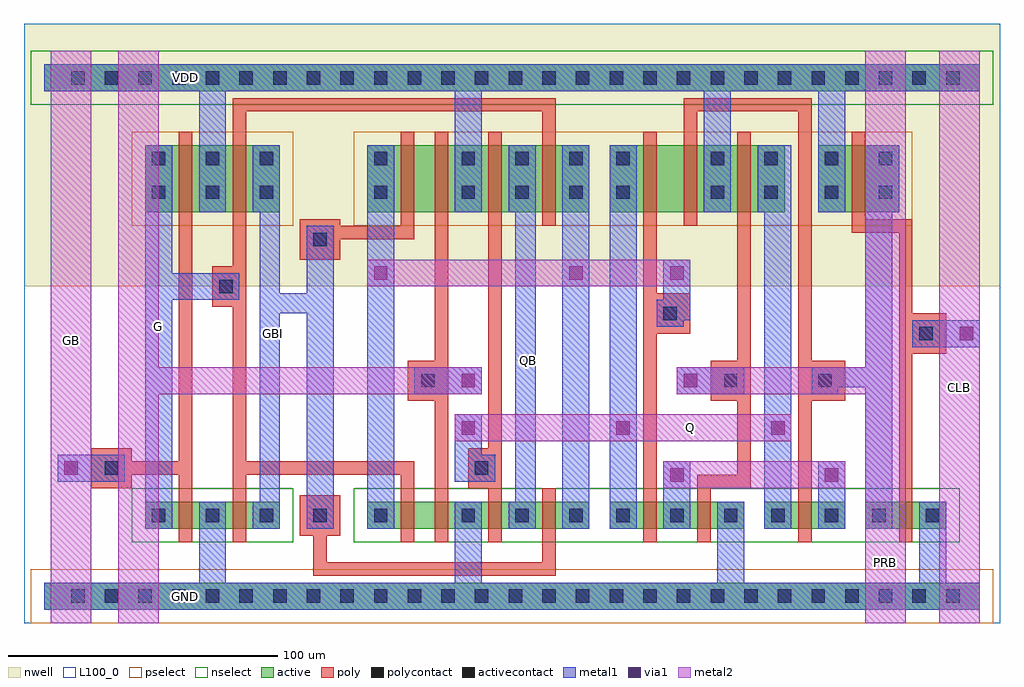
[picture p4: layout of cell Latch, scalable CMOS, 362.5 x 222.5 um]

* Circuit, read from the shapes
.subckt Latch CLB Data G GB GBI GND PRB Q QB VDD
M1 GND GB G GND nfet w=10u l=5u
M2 GBI G GND GND nfet w=10u l=5u
M3 n1 G n2 GND nfet w=10u l=5u
M4 GND Data n1 GND nfet w=10u l=5u
M5 QB Q GND GND nfet w=10u l=5u
M6 n2 GBI QB GND nfet w=10u l=5u
M7 n3 n2 Q GND nfet w=10u l=5u
M8 GND PRB n3 GND nfet w=10u l=5u
M9 n3 n4 Q GND nfet w=10u l=5u
M10 GND CLB n4 GND nfet w=10u l=5u
M11 VDD GB G VDD pfet w=25u l=5u
M12 GBI G VDD VDD pfet w=25u l=5u
M13 n5 GBI n2 VDD pfet w=25u l=5u
M14 VDD Data n5 VDD pfet w=25u l=5u
M15 QB Q VDD VDD pfet w=25u l=5u
M16 n2 G QB VDD pfet w=25u l=5u
M17 n6 n2 Q VDD pfet w=25u l=5u
M18 VDD n4 n6 VDD pfet w=25u l=5u
M19 Q PRB VDD VDD pfet w=25u l=5u
M20 n4 CLB VDD VDD pfet w=25u l=5u
.ends

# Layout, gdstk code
import gdstk
lib = gdstk.Library(unit=1e-6, precision=1e-09)
def R(c, l, rs):  # rectangles x0, y0, x1, y1
    for r in rs: c.add(gdstk.rectangle(r[:2], r[2:], *l))
def A(c, l, x, y, w, h, nx, ny, dx, dy):  # array of equal rectangles
    R(c, l, [(x+i*dx, y+j*dy, x+i*dx+w, y+j*dy+h) for i in range(nx) for j in range(ny)])
nwell = (42, 0)
active = (43, 0)
pselect = (44, 0)
nselect = (45, 0)
poly = (46, 0)
polycontact = (47, 0)
activecontact = (48, 0)
metal1 = (49, 0)
via1 = (50, 0)
metal2 = (51, 0)
L100_0 = (100, 0)

latch = lib.new_cell('Latch')
R(latch, nwell, [(0,125,362.5,222.5), (7.5,125,355,190), (0,190,362.5,215), (7.5,215,355,222.5)])
R(latch, active, [(7.5,5,355,15), (45,35,95,45), (127.5,35,210,45), (217.5,35,267.5,45), (275,35,305,45), (312.5,35,342.5,45), (45,152.5,95,177.5), (127.5,152.5,210,177.5), (217.5,152.5,282.5,177.5), (295,152.5,325,177.5), (7.5,197.5,355,207.5)])
R(latch, pselect, [(2.5,0,360,20), (40,147.5,100,182.5), (122.5,147.5,330,182.5)])
R(latch, nselect, [(40,30,100,50), (122.5,30,347.5,50), (2.5,192.5,360,212.5)])
R(latch, poly, [(107.5,17.5,197.5,22.5), (107.5,22.5,112.5,32.5), (192.5,22.5,197.5,50), (57.5,30,62.5,55), (77.5,30,82.5,55), (140,30,145,55), (152.5,30,157.5,82.5), (172.5,30,177.5,50), (230,30,235,107.5), (250,30,255,50), (287.5,30,292.5,82.5), (325,30,330,100), (102.5,32.5,117.5,47.5), (25,50,40,55), (165,50,177.5,65), (250,50,270,55), (25,55,62.5,60), (77.5,55,145,60), (265,55,270,82.5), (25,60,40,65), (57.5,60,62.5,182.5), (77.5,60,82.5,117.5), (172.5,65,177.5,182.5), (142.5,82.5,157.5,97.5), (255,82.5,270,97.5), (287.5,82.5,305,97.5), (152.5,97.5,157.5,182.5), (265,97.5,270,182.5), (287.5,97.5,292.5,190), (325,100,342.5,115), (230,107.5,247.5,122.5), (325,115,330,145), (70,117.5,82.5,132.5), (230,122.5,235,182.5), (77.5,132.5,82.5,190), (102.5,135,117.5,142.5), (102.5,142.5,145,147.5), (307.5,145,330,150), (102.5,147.5,117.5,150), (140,147.5,145,182.5), (192.5,147.5,197.5,190), (245,147.5,250,190), (307.5,150,312.5,182.5), (77.5,190,197.5,195), (245,190,292.5,195)])
R(latch, polycontact, [(107.5,37.5,112.5,42.5), (30,55,35,60), (167.5,55,172.5,60), (147.5,87.5,152.5,92.5), (260,87.5,265,92.5), (295,87.5,300,92.5), (332.5,105,337.5,110), (237.5,112.5,242.5,117.5), (72.5,122.5,77.5,127.5), (107.5,140,112.5,145)])
A(latch, activecontact, 17.5, 7.5, 5, 5, 27, 2, 12.5, 192.5)
A(latch, activecontact, 47.5, 37.5, 5, 5, 3, 2, 20, 120)
A(latch, activecontact, 162.5, 37.5, 5, 5, 3, 2, 20, 120)
A(latch, activecontact, 220, 37.5, 5, 5, 3, 1, 20, 0)
A(latch, activecontact, 47.5, 170, 5, 5, 3, 1, 20, 0)
A(latch, activecontact, 162.5, 170, 5, 5, 3, 1, 20, 0)
R(latch, activecontact, [(130,37.5,135,42.5), (277.5,37.5,282.5,42.5), (297.5,37.5,302.5,42.5), (315,37.5,320,42.5), (335,37.5,340,42.5), (130,157.5,135,162.5), (220,157.5,225,162.5), (255,157.5,260,162.5), (275,157.5,280,162.5), (297.5,157.5,302.5,162.5), (317.5,157.5,322.5,162.5), (130,170,135,175), (220,170,225,175), (255,170,260,175), (275,170,280,175), (297.5,170,302.5,175), (317.5,170,322.5,175)])
R(latch, metal1, [(7.5,5,355,15), (65,15,75,45), (160,15,170,45), (257.5,15,267.5,45), (332.5,15,342.5,45), (45,35,55,120), (85,35,95,45), (105,35,115,115), (127.5,35,137.5,177.5), (180,35,190,45), (200,35,210,177.5), (217.5,35,227.5,177.5), (237.5,35,247.5,60), (275,35,285,152.5), (295,35,305,60), (312.5,35,322.5,87.5), (87.5,45,95,115), (182.5,45,190,152.5), (12.5,52.5,37.5,62.5), (160,52.5,175,62.5), (160,62.5,170,77.5), (145,85,170,95), (242.5,85,267.5,95), (292.5,85,302.5,87.5), (292.5,87.5,322.5,95), (312.5,95,322.5,152.5), (330,102.5,355,112.5), (235,110,245,112.5), (235,112.5,247.5,120), (87.5,115,115,122.5), (45,120,80,130), (237.5,120,247.5,135), (87.5,122.5,95,152.5), (105,122.5,115,147.5), (45,130,55,177.5), (65,152.5,75,197.5), (85,152.5,95,177.5), (160,152.5,170,197.5), (180,152.5,190,177.5), (252.5,152.5,262.5,197.5), (272.5,152.5,285,177.5), (295,152.5,305,197.5), (312.5,152.5,325,177.5), (7.5,197.5,355,207.5)])
A(latch, via1, 162.5, 70, 5, 5, 3, 1, 57.5, 0)
R(latch, via1, [(240,52.5,245,57.5), (297.5,52.5,302.5,57.5), (15,55,20,60), (162.5,87.5,167.5,92.5), (245,87.5,250,92.5), (347.5,105,352.5,110), (130,127.5,135,132.5), (202.5,127.5,207.5,132.5), (240,127.5,245,132.5)])
R(latch, metal2, [(10,0,25,212.5), (35,0,50,85), (312.5,0,327.5,85), (340,0,355,212.5), (237.5,50,305,60), (160,67.5,285,77.5), (35,85,170,95), (242.5,85,327.5,95), (35,95,50,212.5), (312.5,95,327.5,212.5), (127.5,125,247.5,135)])
R(latch, L100_0, [(0,0,362.5,222.5)])
latch.add(gdstk.Label('GND', (60,10), layer=49, texttype=1))
latch.add(gdstk.Label('VDD', (60,202.5), layer=49, texttype=1))
latch.add(gdstk.Label('GBI', (92.5,107.5), layer=49, texttype=1))
latch.add(gdstk.Label('G', (50,110), layer=49, texttype=1))
latch.add(gdstk.Label('QB', (187.5,97.5), layer=49, texttype=1))
latch.add(gdstk.Label('Q', (247.5,72.5), layer=51, texttype=1))
latch.add(gdstk.Label('CLB', (347.5,87.5), layer=51, texttype=1))
latch.add(gdstk.Label('PRB', (320,22.5), layer=51, texttype=1))
latch.add(gdstk.Label('GB', (17.5,105), layer=51, texttype=1))
latch.add(gdstk.Label('Data', (42.5,105), layer=51, texttype=1))

lib.write_gds('Latch.gds')
